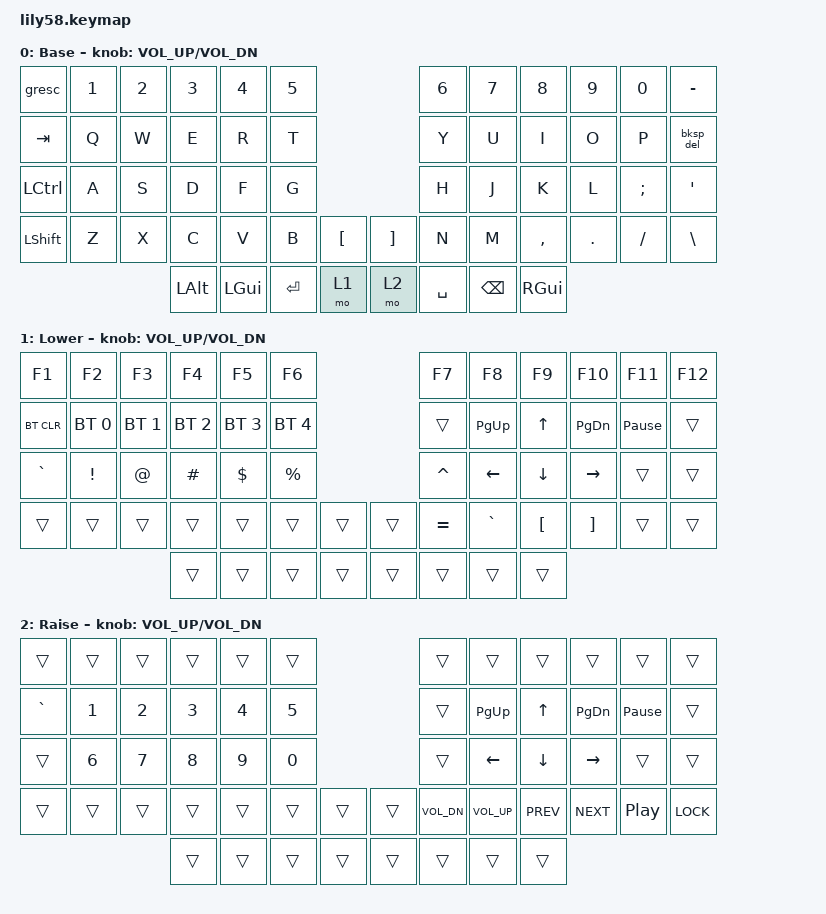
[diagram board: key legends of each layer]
/*
 * Copyright (c) 2020 The ZMK Contributors
 *
 * SPDX-License-Identifier: MIT
 */

#include <behaviors.dtsi>
#include <dt-bindings/zmk/bt.h>
#include <dt-bindings/zmk/keys.h>

/ {
    macros {
        del_macro: del_macro {
            compatible = "zmk,behavior-macro";
            #binding-cells = <0>;
            bindings = <&none>;
            label = "DEL_MACRO";
        };
    };

    behaviors {
        bksp_del: bksp_del {
            compatible = "zmk,behavior-mod-morph";
            label = "BKSP_DEL";
            bindings = <&kp BACKSPACE>, <&kp DEL>;

            #binding-cells = <0>;
            mods = <(MOD_LSFT)>;
        };
    };

    keymap {
        compatible = "zmk,keymap";

        default_layer {
            // ------------------------------------------------------------------------------------------------------------
            // |  ESC  |  1  |  2  |  3   |  4   |  5   |                   |  6   |  7    |  8    |  9   |   0   |   `   |
            // |  TAB  |  Q  |  W  |  E   |  R   |  T   |                   |  Y   |  U    |  I    |  O   |   P   |   -   |
            // |  CTRL |  A  |  S  |  D   |  F   |  G   |                   |  H   |  J    |  K    |  L   |   ;   |   '   |
            // | SHIFT |  Z  |  X  |  C   |  V   |  B   |   "["  |  |  "]"  |  N   |  M    |  ,    |  .   |   /   | SHIFT |
            //                     | ALT  | GUI  | LOWER|  SPACE |  | ENTER | RAISE| BSPC  | GUI   |

            display-name = "Base";
            bindings = <
&gresc     &kp N1  &kp N2  &kp N3    &kp N4    &kp N5                                    &kp N6     &kp N7    &kp N8     &kp N9   &kp N0    &kp MINUS
&kp TAB    &kp Q   &kp W   &kp E     &kp R     &kp T                                     &kp Y      &kp U     &kp I      &kp O    &kp P     &bksp_del
&kp LCTRL  &kp A   &kp S   &kp D     &kp F     &kp G                                     &kp H      &kp J     &kp K      &kp L    &kp SEMI  &kp SQT
&kp LSHFT  &kp Z   &kp X   &kp C     &kp V     &kp B      &kp LBKT    &kp RIGHT_BRACKET  &kp N      &kp M     &kp COMMA  &kp DOT  &kp FSLH  &kp BACKSLASH
                           &kp LALT  &kp LGUI  &kp ENTER  &mo 1       &mo 2              &kp SPACE  &kp BSPC  &kp RGUI
            >;

            sensor-bindings = <&inc_dec_kp C_VOL_UP C_VOL_DN>;
        };

        lower_layer {
            // ------------------------------------------------------------------------------------------------------------
            // | BTCLR | BT1 | BT2 |  BT3 |  BT4 |  BT5 |                   |      |       |       |      |       |       |
            // |  F1   |  F2 |  F3 |  F4  |  F5  |  F6  |                   |  F7  |  F8   |  F9   |  F10 |  F11  |  F12  |
            // |   `   |  !  |  @  |  #   |  $   |  %   |                   |  ^   |  &    |  *    |  (   |   )   |   ~   |
            // |       |     |     |      |      |      |        |  |       |      |  _    |  +    |  {   |   }   |  "|"  |
            //                     |      |      |      |        |  |       |      |       |       |

            display-name = "Lower";
            bindings = <
&kp F1      &kp F2        &kp F3        &kp F4        &kp F5        &kp F6                          &kp F7     &kp F8       &kp F9            &kp F10            &kp F11          &kp F12
&bt BT_CLR  &bt BT_SEL 0  &bt BT_SEL 1  &bt BT_SEL 2  &bt BT_SEL 3  &bt BT_SEL 4                    &trans     &kp PAGE_UP  &kp UP_ARROW      &kp PAGE_DOWN      &kp PAUSE_BREAK  &trans
&kp GRAVE   &kp EXCL      &kp AT        &kp HASH      &kp DOLLAR    &kp PRCNT                       &kp CARET  &kp LEFT     &kp DOWN          &kp RIGHT          &trans           &trans
&trans      &trans        &trans        &trans        &trans        &trans        &trans    &trans  &kp EQUAL  &kp GRAVE    &kp LEFT_BRACKET  &kp RIGHT_BRACKET  &trans           &trans
                                        &trans        &trans        &trans        &trans    &trans  &trans     &trans       &trans
            >;

            sensor-bindings = <&inc_dec_kp C_VOL_UP C_VOL_DN>;
        };

        raise_layer {
            // ------------------------------------------------------------------------------------------------------------
            // |       |     |     |      |      |      |                   |      |       |       |      |       |       |
            // |   `   |  1  |  2  |  3   |  4   |  5   |                   |  6   |   7   |   8   |  9   |   0   |       |
            // |   F1  |  F2 |  F3 |  F4  |  F5  |  F6  |                   |      |   <-  |   v   |  ^   |  ->   |       |
            // |   F7  |  F8 |  F9 |  F10 |  F11 |  F12 |        |  |       |  +   |   -   |   =   |  [   |   ]   |   \   |
            //                     |      |      |      |        |  |       |      |       |       |

            display-name = "Raise";
            bindings = <
&trans     &trans        &trans  &trans  &trans  &trans                    &trans        &trans        &trans        &trans         &trans            &trans
&kp GRAVE  &kp N1        &kp N2  &kp N3  &kp N4  &kp N5                    &trans        &kp PAGE_UP   &kp UP_ARROW  &kp PAGE_DOWN  &kp PAUSE_BREAK   &trans
&trans     &kp NUMBER_6  &kp N7  &kp N8  &kp N9  &kp N0                    &trans        &kp LEFT      &kp DOWN      &kp RIGHT      &trans            &trans
&trans     &trans        &trans  &trans  &trans  &trans  &trans    &trans  &kp C_VOL_DN  &kp C_VOL_UP  &kp C_PREV    &kp C_NEXT     &kp C_PLAY_PAUSE  &kp K_LOCK
                                 &trans  &trans  &trans  &trans    &trans  &trans        &trans        &trans
            >;

            sensor-bindings = <&inc_dec_kp C_VOL_UP C_VOL_DN>;
        };
    };
};
